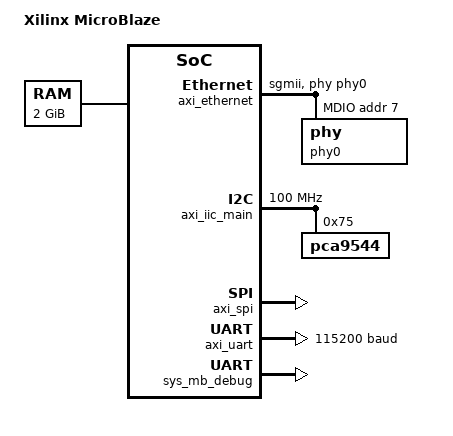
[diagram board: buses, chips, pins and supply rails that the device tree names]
#include <dt-bindings/gpio/gpio.h>

/ {
	#address-cells = <1>;
	#size-cells = <1>;
	compatible = "xlnx,microblaze";
	model = "Xilinx MicroBlaze";
	chosen {
		bootargs = "console=ttyUL0,115200";
		stdout-path = &axi_uart;
	};
	aliases {
		ethernet0 = &axi_ethernet;
		i2c0 = &axi_iic_main;
		serial0 = &axi_uart;
		serial1 = &sys_mb_debug;
		spi0 = &axi_spi;
	};
	memory {
		device_type = "memory";
		reg = <0x80000000 0x80000000>;
	};
	cpus {
		#address-cells = <1>;
		#cpus = <1>;
		#size-cells = <0>;
		sys_mb: cpu@0 {
			bus-handle = <&amba_pl>;
			clock-frequency = <100000000>;
			clocks = <&clk_cpu>;
			compatible = "xlnx,microblaze-10.0";
			d-cache-baseaddr = <0x0000000080000000>;
			d-cache-highaddr = <0x00000000ffffffff>;
			d-cache-line-size = <0x10>;
			d-cache-size = <0x4000>;
			device_type = "cpu";
			i-cache-baseaddr = <0x0000000080000000>;
			i-cache-highaddr = <0x00000000ffffffff>;
			i-cache-line-size = <0x20>;
			i-cache-size = <0x4000>;
			interrupt-handle = <&axi_intc>;
			model = "microblaze,10.0";
			timebase-frequency = <100000000>;
			xlnx,addr-size = <0x20>;
			xlnx,addr-tag-bits = <0x11>;
			xlnx,allow-dcache-wr = <0x1>;
			xlnx,allow-icache-wr = <0x1>;
			xlnx,area-optimized = <0x0>;
			xlnx,async-interrupt = <0x1>;
			xlnx,async-wakeup = <0x3>;
			xlnx,avoid-primitives = <0x0>;
			xlnx,base-vectors = <0x0000000000000000>;
			xlnx,branch-target-cache-size = <0x0>;
			xlnx,cache-byte-size = <0x4000>;
			xlnx,d-axi = <0x1>;
			xlnx,d-lmb = <0x1>;
			xlnx,d-lmb-mon = <0x0>;
			xlnx,daddr-size = <0x20>;
			xlnx,data-size = <0x20>;
			xlnx,dc-axi-mon = <0x0>;
			xlnx,dcache-addr-tag = <0x11>;
			xlnx,dcache-always-used = <0x1>;
			xlnx,dcache-byte-size = <0x4000>;
			xlnx,dcache-data-width = <0x0>;
			xlnx,dcache-force-tag-lutram = <0x0>;
			xlnx,dcache-line-len = <0x4>;
			xlnx,dcache-use-writeback = <0x0>;
			xlnx,dcache-victims = <0x8>;
			xlnx,debug-counter-width = <0x20>;
			xlnx,debug-enabled = <0x1>;
			xlnx,debug-event-counters = <0x5>;
			xlnx,debug-external-trace = <0x0>;
			xlnx,debug-interface = <0x0>;
			xlnx,debug-latency-counters = <0x1>;
			xlnx,debug-profile-size = <0x0>;
			xlnx,debug-trace-async-reset = <0x0>;
			xlnx,debug-trace-size = <0x2000>;
			xlnx,div-zero-exception = <0x1>;
			xlnx,dp-axi-mon = <0x0>;
			xlnx,dynamic-bus-sizing = <0x0>;
			xlnx,ecc-use-ce-exception = <0x0>;
			xlnx,edge-is-positive = <0x1>;
			xlnx,enable-discrete-ports = <0x0>;
			xlnx,endianness = <0x1>;
			xlnx,fault-tolerant = <0x0>;
			xlnx,fpu-exception = <0x0>;
			xlnx,freq = <0x5f5e100>;
			xlnx,fsl-exception = <0x0>;
			xlnx,fsl-links = <0x0>;
			xlnx,i-axi = <0x0>;
			xlnx,i-lmb = <0x1>;
			xlnx,i-lmb-mon = <0x0>;
			xlnx,iaddr-size = <0x20>;
			xlnx,ic-axi-mon = <0x0>;
			xlnx,icache-always-used = <0x1>;
			xlnx,icache-data-width = <0x0>;
			xlnx,icache-force-tag-lutram = <0x0>;
			xlnx,icache-line-len = <0x8>;
			xlnx,icache-streams = <0x1>;
			xlnx,icache-victims = <0x8>;
			xlnx,ill-opcode-exception = <0x1>;
			xlnx,imprecise-exceptions = <0x0>;
			xlnx,instr-size = <0x20>;
			xlnx,interconnect = <0x2>;
			xlnx,interrupt-is-edge = <0x0>;
			xlnx,interrupt-mon = <0x0>;
			xlnx,ip-axi-mon = <0x0>;
			xlnx,lockstep-master = <0x0>;
			xlnx,lockstep-select = <0x0>;
			xlnx,lockstep-slave = <0x0>;
			xlnx,mmu-dtlb-size = <0x4>;
			xlnx,mmu-itlb-size = <0x2>;
			xlnx,mmu-privileged-instr = <0x0>;
			xlnx,mmu-tlb-access = <0x3>;
			xlnx,mmu-zones = <0x2>;
			xlnx,num-sync-ff-clk = <0x2>;
			xlnx,num-sync-ff-clk-debug = <0x2>;
			xlnx,num-sync-ff-clk-irq = <0x1>;
			xlnx,num-sync-ff-dbg-clk = <0x1>;
			xlnx,num-sync-ff-dbg-trace-clk = <0x2>;
			xlnx,number-of-pc-brk = <0x1>;
			xlnx,number-of-rd-addr-brk = <0x0>;
			xlnx,number-of-wr-addr-brk = <0x0>;
			xlnx,opcode-0x0-illegal = <0x1>;
			xlnx,optimization = <0x0>;
			xlnx,pc-width = <0x20>;
			xlnx,piaddr-size = <0x20>;
			xlnx,pvr = <0x2>;
			xlnx,pvr-user1 = <0x00>;
			xlnx,pvr-user2 = <0x00000000>;
			xlnx,reset-msr = <0x00000000>;
			xlnx,reset-msr-bip = <0x0>;
			xlnx,reset-msr-dce = <0x0>;
			xlnx,reset-msr-ee = <0x0>;
			xlnx,reset-msr-eip = <0x0>;
			xlnx,reset-msr-ice = <0x0>;
			xlnx,reset-msr-ie = <0x0>;
			xlnx,sco = <0x0>;
			xlnx,trace = <0x0>;
			xlnx,unaligned-exceptions = <0x1>;
			xlnx,use-barrel = <0x1>;
			xlnx,use-branch-target-cache = <0x0>;
			xlnx,use-config-reset = <0x0>;
			xlnx,use-dcache = <0x1>;
			xlnx,use-div = <0x1>;
			xlnx,use-ext-brk = <0x0>;
			xlnx,use-ext-nm-brk = <0x0>;
			xlnx,use-extended-fsl-instr = <0x0>;
			xlnx,use-fpu = <0x0>;
			xlnx,use-hw-mul = <0x2>;
			xlnx,use-icache = <0x1>;
			xlnx,use-interrupt = <0x1>;
			xlnx,use-mmu = <0x3>;
			xlnx,use-msr-instr = <0x1>;
			xlnx,use-non-secure = <0x0>;
			xlnx,use-pcmp-instr = <0x1>;
			xlnx,use-reorder-instr = <0x1>;
			xlnx,use-stack-protection = <0x0>;
		};
	};
	clocks {
		#address-cells = <1>;
		#size-cells = <0>;
		clk_cpu: clk_cpu@0 {
			#clock-cells = <0>;
			clock-frequency = <100000000>;
			clock-output-names = "clk_cpu";
			compatible = "fixed-clock";
			reg = <0>;
		};
		clk_bus_0: clk_bus_0@1 {
			#clock-cells = <0>;
			clock-frequency = <100000000>;
			clock-output-names = "clk_bus_0";
			compatible = "fixed-clock";
			reg = <1>;
		};
	};
	amba_pl: amba_pl {
		#address-cells = <1>;
		#size-cells = <1>;
		compatible = "simple-bus";
		ranges ;
		axi_ddr_cntrl: memory-controller@80000000 {
			compatible = "xlnx,ddr4-2.2";
			device_type = "memory";
			reg = <0x80000000 0x80000000>;
		};
		axi_ethernet: ethernet@40e00000 {
			axistream-connected = <&axi_ethernet_dma>;
			axistream-control-connected = <&axi_ethernet_dma>;
			clock-frequency = <100000000>;
			compatible = "xlnx,axi-ethernet-1.00.a";
			device_type = "network";
			interrupt-parent = <&axi_intc>;
			interrupts = <1 2>;
			local-mac-address = [00 0a 35 00 00 01];
			phy-handle = <&phy0>;
			phy-mode = "sgmii";
			reg = <0x40e00000 0x40000>;
			xlnx = <0x0>;
			xlnx,axiliteclkrate = <0x0>;
			xlnx,axisclkrate = <0x0>;
			xlnx,clockselection = <0x0>;
			xlnx,enableasyncsgmii = <0x0>;
			xlnx,gt-type = <0x0>;
			xlnx,gtinex = <0x0>;
			xlnx,gtlocation = <0x0>;
			xlnx,gtrefclksrc = <0x0>;
			xlnx,include-dre ;
			xlnx,instantiatebitslice0 = <0x0>;
			xlnx,phy-type = <0x4>;
			xlnx,phyaddr = <0x1>;
			xlnx,rable = <0x0>;
			xlnx,rxcsum = <0x2>;
			xlnx,rxlane0-placement = <0x0>;
			xlnx,rxlane1-placement = <0x0>;
			xlnx,rxmem = <0x2000>;
			xlnx,rxnibblebitslice0used = <0x0>;
			xlnx,tx-in-upper-nibble = <0x1>;
			xlnx,txcsum = <0x2>;
			xlnx,txlane0-placement = <0x0>;
			xlnx,txlane1-placement = <0x0>;
			axi_ethernet_mdio: mdio {
				#address-cells = <1>;
				#size-cells = <0>;
				phy0: phy@7 {
					device_type = "ethernet-phy";
					reg = <7>;
				};
			};
		};
		axi_ethernet_dma: dma@41e10000 {
			#dma-cells = <1>;
			axistream-connected = <&axi_ethernet>;
			axistream-control-connected = <&axi_ethernet>;
			clock-frequency = <100000000>;
			clock-names = "s_axi_lite_aclk";
			clocks = <&clk_bus_0>;
			compatible = "xlnx,eth-dma";
			interrupt-parent = <&axi_intc>;
			interrupts = <2 2 3 2>;
			reg = <0x41e10000 0x1000>;
			xlnx,include-dre ;
		};
		axi_gpio: gpio@40000000 {
			#gpio-cells = <2>;
			#interrupt-cells = <2>;
			compatible = "xlnx,xps-gpio-1.00.a";
			gpio-controller ;
			interrupt-controller ;
			interrupt-parent = <&axi_intc>;
			interrupts = <11 2>;
			reg = <0x40000000 0x1000>;
			xlnx,all-inputs = <0x0>;
			xlnx,all-inputs-2 = <0x0>;
			xlnx,all-outputs = <0x0>;
			xlnx,all-outputs-2 = <0x0>;
			xlnx,dout-default = <0x00000000>;
			xlnx,dout-default-2 = <0x00000000>;
			xlnx,gpio-width = <0x20>;
			xlnx,gpio2-width = <0x20>;
			xlnx,interrupt-present = <0x1>;
			xlnx,is-dual = <0x1>;
			xlnx,tri-default = <0xFFFFFFFF>;
			xlnx,tri-default-2 = <0xFFFFFFFF>;
		};
		axi_iic_main: i2c@41600000 {
			#address-cells = <1>;
			#size-cells = <0>;
			clock-frequency = <100000000>;
			clocks = <&clk_bus_0>;
			compatible = "xlnx,xps-iic-2.00.a";
			interrupt-parent = <&axi_intc>;
			interrupts = <9 2>;
			reg = <0x41600000 0x1000>;
			pca9544: i2c-switch@75 {
				#address-cells = <1>;
				#size-cells = <0>;
				compatible = "pca9544";
				reg = <0x75>;
				fmc_hpc_iic: i2c@1 {
					#address-cells = <1>;
					#size-cells = <0>;
					reg = <1>;
				};
				fmc_lpc_iic: i2c@2 {
					#address-cells = <1>;
					#size-cells = <0>;
					reg = <2>;
				};
			};
		};
		axi_intc: interrupt-controller@41200000 {
			#interrupt-cells = <2>;
			compatible = "xlnx,xps-intc-1.00.a";
			interrupt-controller ;
			reg = <0x41200000 0x1000>;
			xlnx,kind-of-intr = <0x410>;
			xlnx,num-intr-inputs = <0x10>;
		};
		axi_spi: axi_quad_spi@44a70000 {
			#address-cells = <1>;
			#size-cells = <0>;
			bits-per-word = <8>;
			compatible = "xlnx,xps-spi-2.00.a";
			fifo-size = <16>;
			interrupt-parent = <&axi_intc>;
			interrupts = <10 0>;
			num-cs = <0x8>;
			reg = <0x44a70000 0x10000>;
			xlnx,num-ss-bits = <0x8>;
			xlnx,spi-mode = <0>;
		};
		axi_timer: timer@41c00000 {
			clock-frequency = <100000000>;
			clocks = <&clk_bus_0>;
			compatible = "xlnx,xps-timer-1.00.a";
			interrupt-parent = <&axi_intc>;
			interrupts = <0 2>;
			reg = <0x41c00000 0x1000>;
			xlnx,count-width = <0x20>;
			xlnx,gen0-assert = <0x1>;
			xlnx,gen1-assert = <0x1>;
			xlnx,one-timer-only = <0x0>;
			xlnx,trig0-assert = <0x1>;
			xlnx,trig1-assert = <0x1>;
		};
		axi_uart: serial@40600000 {
			clock-frequency = <100000000>;
			clocks = <&clk_bus_0>;
			compatible = "xlnx,xps-uartlite-1.00.a";
			current-speed = <115200>;
			device_type = "serial";
			interrupt-parent = <&axi_intc>;
			interrupts = <4 0>;
			port-number = <0>;
			reg = <0x40600000 0x1000>;
			xlnx,baudrate = <0x1c200>;
			xlnx,data-bits = <0x8>;
			xlnx,odd-parity = <0x0>;
			xlnx,s-axi-aclk-freq-hz-d = "100.0";
			xlnx,use-parity = <0x0>;
		};
		sys_mb_debug: serial@41400000 {
			clock-frequency = <100000000>;
			clocks = <&clk_bus_0>;
			compatible = "xlnx,xps-uartlite-1.00.a";
			device_type = "serial";
			port-number = <1>;
			reg = <0x41400000 0x1000>;
			xlnx,avoid-primitives = <0x0>;
			xlnx,brk = <0x0>;
			xlnx,bscanid = <0x4900500>;
			xlnx,data-size = <0x20>;
			xlnx,dbg-mem-access = <0x0>;
			xlnx,dbg-reg-access = <0x0>;
			xlnx,debug-interface = <0x0>;
			xlnx,ext-trig-reset-value = <0xF1234>;
			xlnx,interconnect = <0x2>;
			xlnx,jtag-chain = <0x2>;
			xlnx,mb-dbg-ports = <0x1>;
			xlnx,trace-async-reset = <0x0>;
			xlnx,trace-clk-out-phase = <0x5a>;
			xlnx,trace-data-width = <0x20>;
			xlnx,trace-id = <0x6e>;
			xlnx,trace-output = <0x0>;
			xlnx,trace-protocol = <0x1>;
			xlnx,trig-in-ports = <0x1>;
			xlnx,trig-out-ports = <0x1>;
			xlnx,use-bscan = <0x0>;
			xlnx,use-config-reset = <0x0>;
			xlnx,use-cross-trigger = <0x0>;
			xlnx,use-uart = <0x1>;
			xlnx,xmtc = <0x0>;
		};

		axi_sysid_0: axi-sysid-0@45000000 {
			compatible = "adi,axi-sysid-1.00.a";
			reg = <0x45000000 0x10000>;
		};
	};
};
